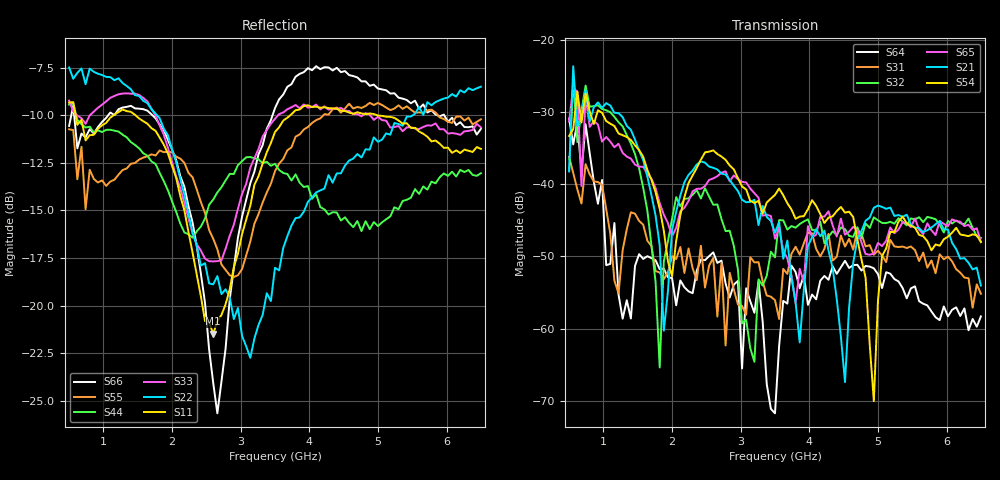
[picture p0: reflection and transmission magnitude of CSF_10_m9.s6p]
!Keysight Technologies,M9804A,MY58100912,A.14.10.03
!Date: Thursday, April 27, 2023 10:28:33
!Correction: S11(C  6-Port  )
!S12(C  6-Port  )
!S13(C  6-Port  )
!S14(C  6-Port  )
!S15(C  6-Port  )
!S16(C  6-Port  )
!S21(C  6-Port  )
!S22(C  6-Port  )
!S23(C  6-Port  )
!S24(C  6-Port  )
!S25(C  6-Port  )
!S26(C  6-Port  )
!S31(C  6-Port  )
!S32(C  6-Port  )
!S33(C  6-Port  )
!S34(C  6-Port  )
!S35(C  6-Port  )
!S36(C  6-Port  )
!S41(C  6-Port  )
!S42(C  6-Port  )
!S43(C  6-Port  )
!S44(C  6-Port  )
!S45(C  6-Port  )
!S46(C  6-Port  )
!S51(C  6-Port  )
!S52(C  6-Port  )
!S53(C  6-Port  )
!S54(C  6-Port  )
!S55(C  6-Port  )
!S56(C  6-Port  )
!S61(C  6-Port  )
!S62(C  6-Port  )
!S63(C  6-Port  )
!S64(C  6-Port  )
!S65(C  6-Port  )
!S66(C  6-Port  )
!S6P File: Measurement: :
# Hz S  RI  R 50
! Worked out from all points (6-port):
!   101 points, 500 MHz to 6.5 GHz, reference 50 ohm
!   strongest paths, dB at 500 MHz, 2 GHz, 3.5 GHz, 5 GHz, 6.5 GHz:
!     S54: -33.3, -52.7, -41.5, -56.2, -48.0
!     S21: -38.2, -46.3, -46.7, -42.9, -54.0
!     S65: -31.3, -47.2, -47.5, -48.1, -48.0
!     S32: -38.1, -44.8, -50.1, -45.0, -47.4
!     S31: -36.2, -49.9, -56.1, -49.2, -55.2
!     S64: -30.9, -53.0, -71.7, -52.4, -58.3
!   lowest |S11| = -21.5 dB at 2.6 GHz (marker M1), VSWR 1.18, Z = 42.6 + j2.33 ohm
!   |S11| at or under -10 dB: 594.4 MHz to 1.151 GHz (556.6 MHz wide, 63.8 % of centre); 1.465 GHz to 3.725 GHz (2.26 GHz wide, 87.1 % of centre); 4.983 GHz to end of sweep
